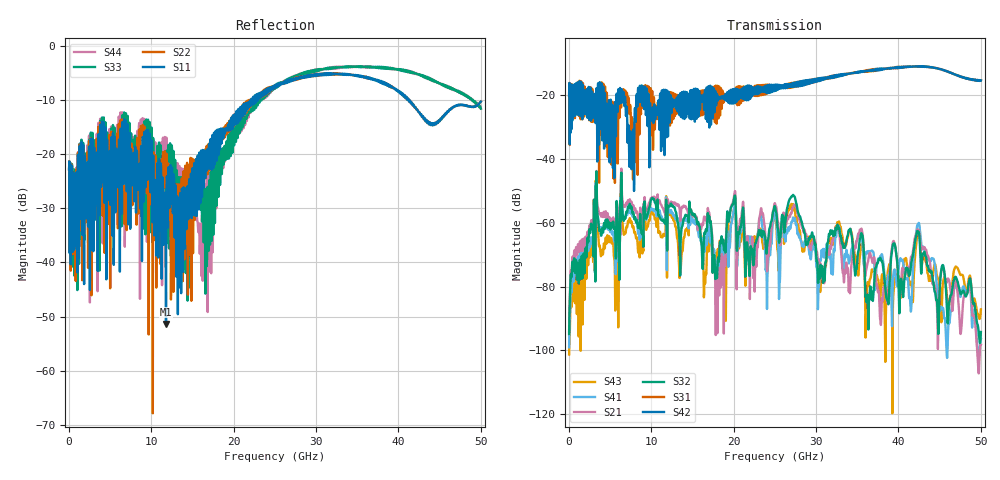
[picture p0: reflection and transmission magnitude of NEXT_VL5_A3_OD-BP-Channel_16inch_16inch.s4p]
#	Hz	S	RI	R	50
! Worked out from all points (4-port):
!   2500 points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, 20 MHz to 50 GHz, reference 50 ohm
!   strongest paths, dB at 20 MHz, 12.52 GHz, 25.02 GHz, 37.52 GHz, 50 GHz:
!     S42: -20.3, -21.1, -16.9, -11.8, -15.5
!     S31: -20.3, -21.3, -18.1, -12.0, -15.5
!     S32: -94.8, -54.9, -55.1, -72.2, -94.2
!     S21: -94.0, -54.0, -54.1, -81.8, -98.2
!     S41: -99.0, -57.1, -57.5, -71.5, -96.4
!     S43: -101.3, -58.4, -58.2, -77.8, -87.2
!   lowest |S11| = -51.3 dB at 11.78 GHz (marker M1), VSWR 1.01, Z = 49.7 - j0.0585 ohm
!   |S11| at or under -10 dB: start of sweep to 22.14 GHz; 22.2 GHz to 22.33 GHz (127.1 MHz wide, 0.571 % of centre); 41.23 GHz to end of sweep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
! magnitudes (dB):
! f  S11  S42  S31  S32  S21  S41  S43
! 20 MHz  -22.8  -20.3  -20.3  -94.8  -94.0  -99.0  -101.3
! 3.5 GHz  -41.6  -18.4  -23.1  -57.9  -55.2  -58.5  -61.4
! 11.78 GHz  -51.3  -25.1  -21.4  -53.1  -52.5  -52.0  -52.2
! 18.02 GHz  -15.5  -21.4  -17.2  -74.2  -94.6  -73.3  -68.8
! 20 GHz  -14.4  -20.8  -21.2  -53.2  -52.4  -55.9  -56.2
! 22.56 GHz  -9.2  -17.7  -17.4  -67.1  -78.4  -68.9  -64.7
! 50 GHz  -10.3  -15.5  -15.5  -94.2  -98.2  -96.4  -87.2
